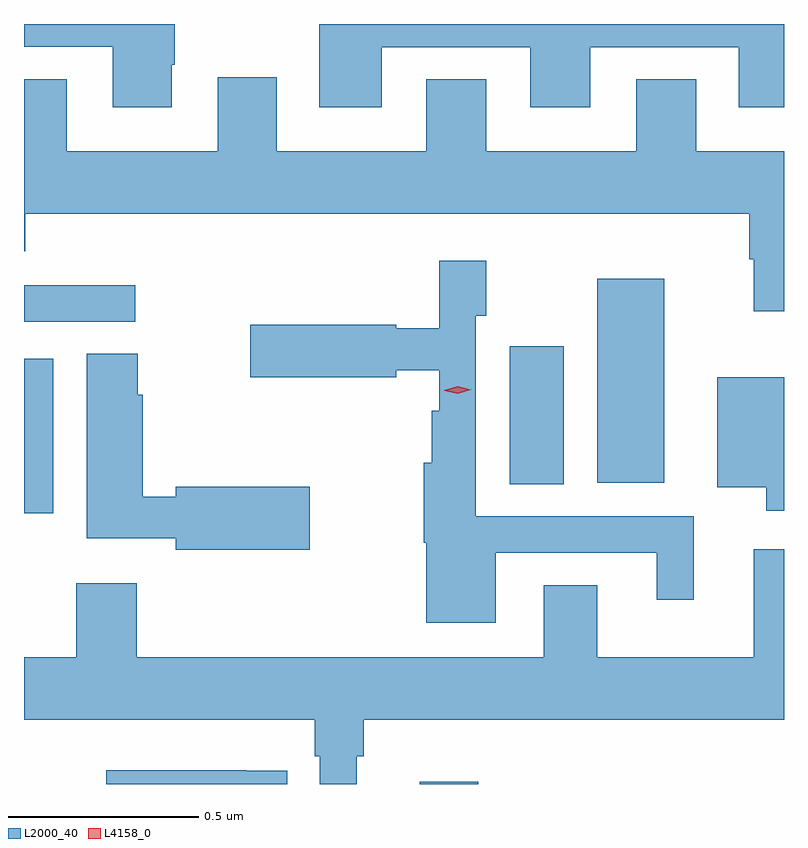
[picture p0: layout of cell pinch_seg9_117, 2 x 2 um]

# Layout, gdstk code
import gdstk
lib = gdstk.Library(unit=1e-6, precision=1e-09)
def R(c, l, rs):  # rectangles x0, y0, x1, y1
    for r in rs: c.add(gdstk.rectangle(r[:2], r[2:], *l))
def P(c, l, *ps):  # polygons
    for p in ps: c.add(gdstk.Polygon(p, *l))
L2000_40 = (2000, 40)
L4158_0 = (4158, 0)

pinch_seg9_117 = lib.new_cell('pinch_seg9_117')
R(pinch_seg9_117, L2000_40, [(863.084,1236.211,863.238,1236.217), (862.043,1236.923,862.12,1237.33), (863.321,1237,863.464,1237.363), (863.552,1237.004,863.728,1237.54), (862.043,1237.428,862.336,1237.524)])
P(pinch_seg9_117, L2000_40, [(862.432,1238.104),(862.44,1238.104),(862.44,1238.211),(862.043,1238.211),(862.043,1238.151),(862.277,1238.151),(862.277,1237.992),(862.432,1237.992)],
  [(862.984,1238.15),(863.375,1238.15),(863.375,1237.992),(863.533,1237.992),(863.533,1238.15),(863.924,1238.15),(863.924,1237.992),(864.043,1237.992),(864.043,1238.211),(862.82,1238.211),(862.82,1237.992),(862.984,1237.992)],
  [(864.043,1237.876),(863.812,1237.876),(863.812,1238.065),(863.654,1238.065),(863.654,1237.876),(863.26,1237.876),(863.26,1238.065),(863.102,1238.065),(863.102,1237.876),(862.708,1237.876),(862.708,1238.071),(862.553,1238.071),(862.553,1237.876),(862.156,1237.876),(862.156,1238.066),(862.043,1238.066),(862.043,1237.613),(862.046,1237.613),(862.046,1237.712),(863.951,1237.712),(863.951,1237.592),(863.963,1237.592),(863.963,1237.455),(864.043,1237.455)],
  [(863.284,1236.819),(863.708,1236.819),(863.708,1236.696),(863.806,1236.696),(863.806,1236.915),(863.232,1236.915),(863.232,1237.443),(863.259,1237.443),(863.259,1237.588),(863.136,1237.588),(863.136,1237.411),(863.022,1237.411),(863.022,1237.419),(862.638,1237.419),(862.638,1237.282),(863.022,1237.282),(863.022,1237.3),(863.136,1237.3),(863.136,1237.193),(863.116,1237.193),(863.116,1237.057),(863.095,1237.057),(863.095,1236.846),(863.102,1236.846),(863.102,1236.635),(863.284,1236.635)],
  [(862.795,1236.993),(862.442,1236.993),(862.442,1236.967),(862.355,1236.967),(862.355,1237.235),(862.342,1237.235),(862.342,1237.343),(862.208,1237.343),(862.208,1236.858),(862.442,1236.858),(862.442,1236.827),(862.795,1236.827)],
  [(864.043,1237.282),(863.867,1237.282),(863.867,1236.992),(863.996,1236.992),(863.996,1236.93),(864.043,1236.93)],
  [(862.918,1236.284),(862.937,1236.284),(862.937,1236.38),(864.043,1236.38),(864.043,1236.829),(863.963,1236.829),(863.963,1236.544),(863.551,1236.544),(863.551,1236.734),(863.411,1236.734),(863.411,1236.544),(862.34,1236.544),(862.34,1236.739),(862.18,1236.739),(862.18,1236.544),(862.043,1236.544),(862.043,1236.38),(862.808,1236.38),(862.808,1236.284),(862.821,1236.284),(862.821,1236.211),(862.918,1236.211)],
  [(862.736,1236.246),(862.628,1236.246),(862.628,1236.247),(862.26,1236.247),(862.26,1236.211),(862.736,1236.211)])
P(pinch_seg9_117, L4158_0, [(863.185,1237.238),(863.149,1237.246),(863.149,1237.247),(863.149,1237.247),(863.184,1237.258),(863.219,1237.249),(863.22,1237.249),(863.219,1237.249)])

lib.write_gds('pinch_seg9_117.gds')
